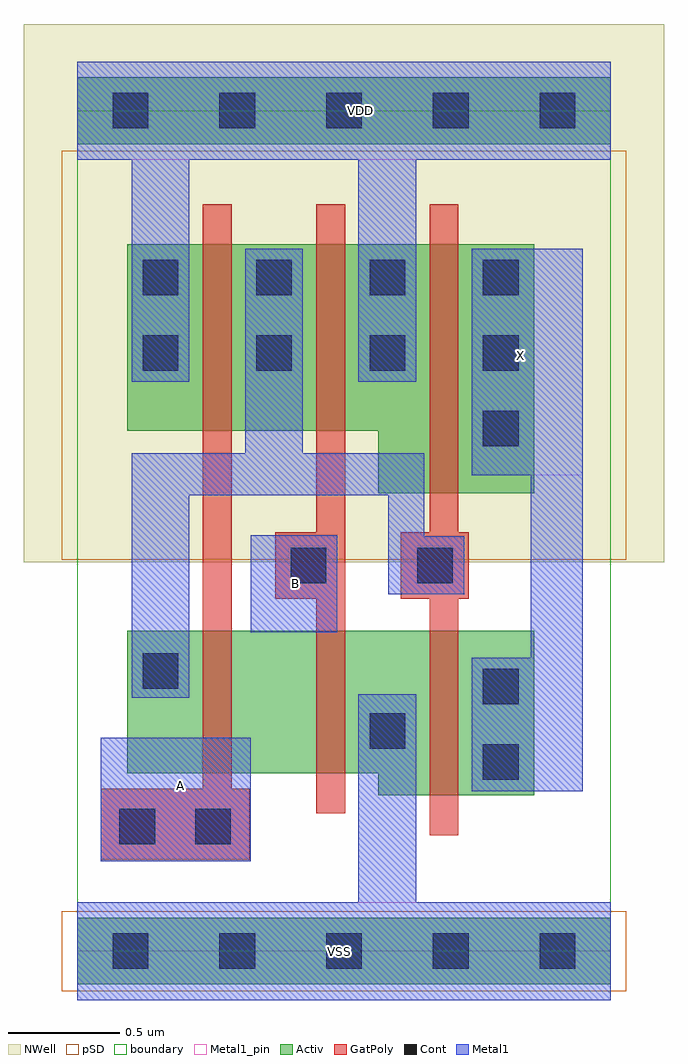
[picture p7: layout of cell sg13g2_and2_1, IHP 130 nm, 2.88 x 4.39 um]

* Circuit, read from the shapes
.subckt sg13g2_and2_1 A B VDD VSS X
XM1 n1 A n2 VSS sg13_lv_nmos w=0.64u l=0.13u
XM2 VSS B n1 VSS sg13_lv_nmos w=0.64u l=0.13u
XM3 X n2 VSS VSS sg13_lv_nmos w=0.74u l=0.13u
XM4 n2 A VDD VDD sg13_lv_pmos w=0.84u l=0.13u
XM5 VDD B n2 VDD sg13_lv_pmos w=0.84u l=0.13u
XM6 X n2 VDD VDD sg13_lv_pmos w=1.12u l=0.13u
.ends

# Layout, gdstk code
import gdstk
lib = gdstk.Library(unit=1e-6, precision=1e-09)
def R(c, l, rs):  # rectangles x0, y0, x1, y1
    for r in rs: c.add(gdstk.rectangle(r[:2], r[2:], *l))
def P(c, l, *ps):  # polygons
    for p in ps: c.add(gdstk.Polygon(p, *l))
Activ = (1, 0)
GatPoly = (5, 0)
Cont = (6, 0)
Metal1 = (8, 0)
Metal1_pin = (8, 2)
pSD = (14, 0)
NWell = (31, 0)
boundary = (189, 4)

sg13g2_and2_1 = lib.new_cell('sg13g2_and2_1')
R(sg13g2_and2_1, Activ, [(0,-0.15,2.4,0.15), (0,-0.15,2.4,0.15), (0,3.63,2.4,3.93), (0,3.63,2.4,3.93)])
P(sg13g2_and2_1, Activ, [(1.355,0.7),(1.355,0.8),(0.225,0.8),(0.225,1.44),(2.055,1.44),(2.055,0.7)],
  [(1.355,2.06),(1.355,2.34),(0.225,2.34),(0.225,3.18),(2.055,3.18),(2.055,2.06)],
  [(1.355,0.7),(1.355,0.8),(0.225,0.8),(0.225,1.44),(2.055,1.44),(2.055,0.7)],
  [(1.355,2.06),(1.355,2.34),(0.225,2.34),(0.225,3.18),(2.055,3.18),(2.055,2.06)])
P(sg13g2_and2_1, GatPoly, [(1.585,0.52),(1.585,1.585),(1.455,1.585),(1.455,1.885),(1.585,1.885),(1.585,3.36),(1.715,3.36),(1.715,1.885),(1.76,1.885),(1.76,1.585),(1.715,1.585),(1.715,0.52)],
  [(0.105,0.41),(0.105,0.73),(0.565,0.73),(0.565,3.36),(0.695,3.36),(0.695,0.73),(0.775,0.73),(0.775,0.41)],
  [(1.075,0.62),(1.075,1.585),(0.89,1.585),(0.89,1.885),(1.075,1.885),(1.075,3.36),(1.205,3.36),(1.205,0.62)],
  [(1.585,0.52),(1.585,1.585),(1.455,1.585),(1.455,1.885),(1.585,1.885),(1.585,3.36),(1.715,3.36),(1.715,1.885),(1.76,1.885),(1.76,1.585),(1.715,1.585),(1.715,0.52)],
  [(0.105,0.41),(0.105,0.73),(0.565,0.73),(0.565,3.36),(0.695,3.36),(0.695,0.73),(0.775,0.73),(0.775,0.41)],
  [(1.075,0.62),(1.075,1.585),(0.89,1.585),(0.89,1.885),(1.075,1.885),(1.075,3.36),(1.205,3.36),(1.205,0.62)])
R(sg13g2_and2_1, Cont, [(0.16,-0.08,0.32,0.08), (0.16,-0.08,0.32,0.08), (0.64,-0.08,0.8,0.08), (0.64,-0.08,0.8,0.08), (1.12,-0.08,1.28,0.08), (1.12,-0.08,1.28,0.08), (1.6,-0.08,1.76,0.08), (1.6,-0.08,1.76,0.08), (2.08,-0.08,2.24,0.08), (2.08,-0.08,2.24,0.08), (0.19,0.48,0.35,0.64), (0.19,0.48,0.35,0.64), (0.53,0.48,0.69,0.64), (0.53,0.48,0.69,0.64), (1.825,0.77,1.985,0.93), (1.825,0.77,1.985,0.93), (1.315,0.91,1.475,1.07), (1.315,0.91,1.475,1.07), (1.825,1.11,1.985,1.27), (1.825,1.11,1.985,1.27), (0.295,1.18,0.455,1.34), (0.295,1.18,0.455,1.34), (0.96,1.655,1.12,1.815), (0.96,1.655,1.12,1.815), (1.53,1.655,1.69,1.815), (1.53,1.655,1.69,1.815), (1.825,2.27,1.985,2.43), (1.825,2.27,1.985,2.43), (0.295,2.61,0.455,2.77), (0.295,2.61,0.455,2.77), (0.805,2.61,0.965,2.77), (0.805,2.61,0.965,2.77), (1.315,2.61,1.475,2.77), (1.315,2.61,1.475,2.77), (1.825,2.61,1.985,2.77), (1.825,2.61,1.985,2.77), (0.295,2.95,0.455,3.11), (0.295,2.95,0.455,3.11), (0.805,2.95,0.965,3.11), (0.805,2.95,0.965,3.11), (1.315,2.95,1.475,3.11), (1.315,2.95,1.475,3.11), (1.825,2.95,1.985,3.11), (1.825,2.95,1.985,3.11), (0.16,3.7,0.32,3.86), (0.16,3.7,0.32,3.86), (0.16,3.7,0.32,3.86), (0.16,3.7,0.32,3.86), (0.16,3.7,0.32,3.86), (0.16,3.7,0.32,3.86), (0.64,3.7,0.8,3.86), (0.64,3.7,0.8,3.86), (0.64,3.7,0.8,3.86), (0.64,3.7,0.8,3.86), (1.12,3.7,1.28,3.86), (1.12,3.7,1.28,3.86), (1.12,3.7,1.28,3.86), (1.12,3.7,1.28,3.86), (1.6,3.7,1.76,3.86), (1.6,3.7,1.76,3.86), (1.6,3.7,1.76,3.86), (1.6,3.7,1.76,3.86), (2.08,3.7,2.24,3.86), (2.08,3.7,2.24,3.86), (2.08,3.7,2.24,3.86), (2.08,3.7,2.24,3.86)])
R(sg13g2_and2_1, Metal1, [(0.105,0.405,0.78,0.96), (0.105,0.405,0.78,0.96), (0.78,1.435,1.17,1.87), (0.78,1.435,1.17,1.87)])
P(sg13g2_and2_1, Metal1, [(0.245,1.14),(0.245,2.24),(0.755,2.24),(0.755,3.16),(1.015,3.16),(1.015,2.24),(1.56,2.24),(1.56,1.865),(1.74,1.865),(1.74,1.605),(1.4,1.605),(1.4,2.05),(0.505,2.05),(0.505,1.14)],
  [(1.775,0.72),(1.775,1.32),(2.04,1.32),(2.04,2.14),(1.775,2.14),(1.775,3.16),(2.275,3.16),(2.275,0.72)],
  [(0.245,2.56),(0.245,3.56),(0,3.56),(0,4),(2.4,4),(2.4,3.56),(1.525,3.56),(1.525,2.56),(1.265,2.56),(1.265,3.56),(0.505,3.56),(0.505,2.56)],
  [(0,-0.22),(0,0.22),(1.265,0.22),(1.265,1.155),(1.525,1.155),(1.525,0.22),(2.4,0.22),(2.4,-0.22)],
  [(0.245,1.14),(0.245,2.24),(0.755,2.24),(0.755,3.16),(1.015,3.16),(1.015,2.24),(1.56,2.24),(1.56,1.865),(1.74,1.865),(1.74,1.605),(1.4,1.605),(1.4,2.05),(0.505,2.05),(0.505,1.14)],
  [(1.775,0.72),(1.775,1.32),(2.04,1.32),(2.04,2.14),(1.775,2.14),(1.775,3.16),(2.275,3.16),(2.275,0.72)],
  [(0.245,2.56),(0.245,3.56),(0,3.56),(0,4),(2.4,4),(2.4,3.56),(1.525,3.56),(1.525,2.56),(1.265,2.56),(1.265,3.56),(0.505,3.56),(0.505,2.56)],
  [(0,-0.22),(0,0.22),(1.265,0.22),(1.265,1.155),(1.525,1.155),(1.525,0.22),(2.4,0.22),(2.4,-0.22)])
R(sg13g2_and2_1, Metal1_pin, [(0,-0.22,2.4,0.22), (0,-0.22,2.4,0.22), (0.105,0.405,0.78,0.96), (0.105,0.405,0.78,0.96), (0.78,1.435,1.17,1.87), (0.78,1.435,1.17,1.87), (1.775,2.14,2.275,3.16), (1.775,2.14,2.275,3.16), (0,3.56,2.4,4), (0,3.56,2.4,4)])
R(sg13g2_and2_1, pSD, [(-0.07,-0.18,2.47,0.18), (-0.07,-0.18,2.47,0.18), (-0.07,1.76,0.55,3.6), (-0.07,1.76,0.55,3.6), (-0.07,1.76,2.47,3.6), (-0.07,1.76,2.47,3.6)])
R(sg13g2_and2_1, NWell, [(-0.24,1.75,2.64,4.17), (-0.24,1.75,2.64,4.17)])
R(sg13g2_and2_1, boundary, [(0,0,2.4,3.78), (0,0,2.4,3.78)])
sg13g2_and2_1.add(gdstk.Label('X', (1.995,2.68), layer=8, texttype=25))
sg13g2_and2_1.add(gdstk.Label('VSS', (1.18,0), layer=8, texttype=25))
sg13g2_and2_1.add(gdstk.Label('VDD', (1.275,3.78), layer=8, texttype=25))
sg13g2_and2_1.add(gdstk.Label('B', (0.98,1.655), layer=8, texttype=25))
sg13g2_and2_1.add(gdstk.Label('A', (0.465,0.745), layer=8, texttype=25))
sg13g2_and2_1.add(gdstk.Label('X', (1.995,2.68), layer=8, texttype=25))
sg13g2_and2_1.add(gdstk.Label('VSS', (1.18,0), layer=8, texttype=25))
sg13g2_and2_1.add(gdstk.Label('VDD', (1.275,3.78), layer=8, texttype=25))
sg13g2_and2_1.add(gdstk.Label('B', (0.98,1.655), layer=8, texttype=25))
sg13g2_and2_1.add(gdstk.Label('A', (0.465,0.745), layer=8, texttype=25))

lib.write_gds('sg13g2_and2_1.gds')
